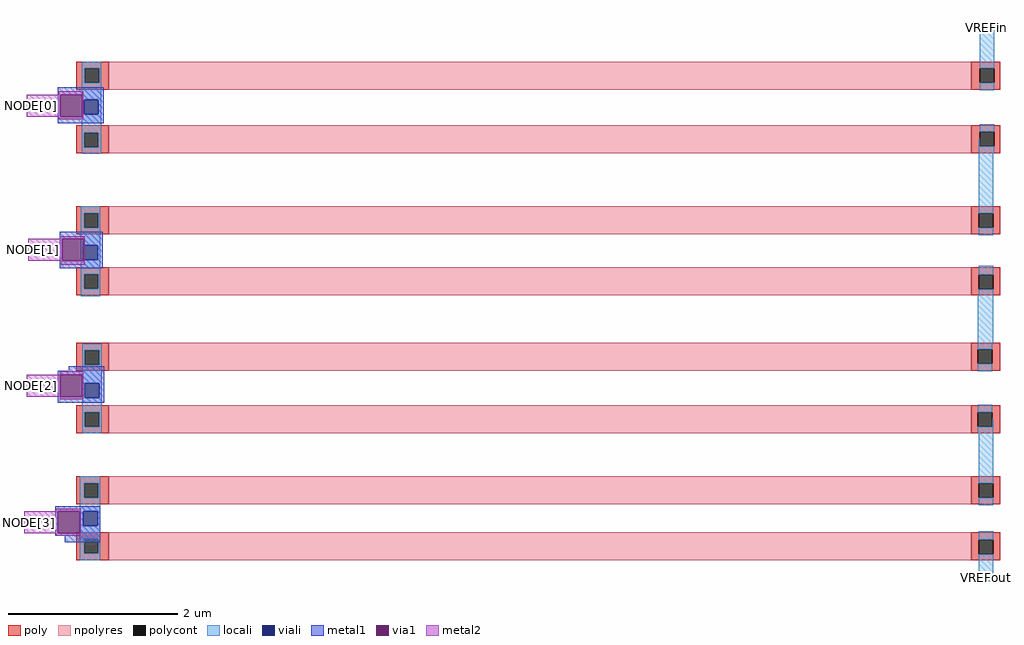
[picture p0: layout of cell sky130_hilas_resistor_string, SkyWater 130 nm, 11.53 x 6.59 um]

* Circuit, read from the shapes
.subckt sky130_hilas_resistor_string VREFin VREFout NODE[3] NODE[2] NODE[1] NODE[0]
R1 VREFout NODE[3] sky130_fd_pr__res_generic_po w=0.33 l=10.19
R2 n1 NODE[3] sky130_fd_pr__res_generic_po w=0.33 l=10.19
R3 n1 NODE[2] sky130_fd_pr__res_generic_po w=0.33 l=10.19
R4 n2 NODE[2] sky130_fd_pr__res_generic_po w=0.33 l=10.19
R5 n2 NODE[1] sky130_fd_pr__res_generic_po w=0.33 l=10.19
R6 n3 NODE[1] sky130_fd_pr__res_generic_po w=0.33 l=10.19
R7 n3 NODE[0] sky130_fd_pr__res_generic_po w=0.33 l=10.19
R8 VREFin NODE[0] sky130_fd_pr__res_generic_po w=0.33 l=10.19
.ends

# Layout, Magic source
magic
tech sky130A
<< poly >>
rect 1921 592 1959 600
rect 1921 575 1931 592
rect 1948 575 1959 592
rect 1921 567 1959 575
rect 2978 592 3012 600
rect 2978 575 2988 592
rect 3005 575 3012 592
rect 2978 567 3012 575
rect 1921 516 1959 525
rect 1921 499 1930 516
rect 1947 499 1959 516
rect 1921 492 1959 499
rect 2978 517 3012 525
rect 2978 500 2988 517
rect 3005 500 3012 517
rect 2978 492 3012 500
rect 1921 421 1959 429
rect 1921 404 1930 421
rect 1947 404 1959 421
rect 1921 396 1959 404
rect 2978 421 3012 429
rect 2978 404 2987 421
rect 3004 404 3012 421
rect 2978 396 3012 404
rect 1921 349 1959 357
rect 1921 332 1930 349
rect 1947 332 1959 349
rect 1921 324 1959 332
rect 2978 348 3012 357
rect 2978 331 2987 348
rect 3004 331 3012 348
rect 2978 324 3012 331
rect 1921 259 1959 268
rect 1921 242 1931 259
rect 1948 242 1959 259
rect 1921 235 1959 242
rect 2978 260 3012 268
rect 2978 243 2986 260
rect 3003 243 3012 260
rect 2978 235 3012 243
rect 1921 186 1959 194
rect 1921 169 1931 186
rect 1948 169 1959 186
rect 1921 161 1959 169
rect 2978 186 3012 194
rect 2978 169 2986 186
rect 3003 169 3012 186
rect 2978 161 3012 169
rect 1921 102 1959 110
rect 1921 85 1930 102
rect 1947 85 1959 102
rect 1921 77 1959 85
rect 2978 102 3012 110
rect 2978 85 2987 102
rect 3004 85 3012 102
rect 2978 77 3012 85
rect 1921 36 1959 44
rect 1921 19 1930 36
rect 1947 19 1959 36
rect 1921 11 1959 19
rect 2978 35 3012 44
rect 2978 18 2987 35
rect 3004 18 3012 35
rect 2978 11 3012 18
<< polycont >>
rect 1931 575 1948 592
rect 2988 575 3005 592
rect 1930 499 1947 516
rect 2988 500 3005 517
rect 1930 404 1947 421
rect 2987 404 3004 421
rect 1930 332 1947 349
rect 2987 331 3004 348
rect 1931 242 1948 259
rect 2986 243 3003 260
rect 1931 169 1948 186
rect 2986 169 3003 186
rect 1930 85 1947 102
rect 2987 85 3004 102
rect 1930 19 1947 36
rect 2987 18 3004 35
<< npolyres >>
rect 1959 567 2978 600
rect 1959 492 2978 525
rect 1959 396 2978 429
rect 1959 324 2978 357
rect 1959 235 2978 268
rect 1959 161 2978 194
rect 1959 77 2978 110
rect 1959 11 2978 44
<< locali >>
rect 1927 592 1950 600
rect 1927 575 1931 592
rect 1948 575 1950 592
rect 1927 555 1950 575
rect 2988 592 3005 645
rect 2988 566 3005 575
rect 1927 538 1930 555
rect 1947 538 1950 555
rect 1927 516 1950 538
rect 1927 499 1930 516
rect 1947 499 1950 516
rect 2988 517 3005 526
rect 1927 491 1950 499
rect 2987 500 2988 509
rect 2987 492 3005 500
rect 1926 421 1949 429
rect 1926 404 1930 421
rect 1947 404 1949 421
rect 1926 383 1949 404
rect 2987 421 3004 492
rect 2987 395 3004 404
rect 1926 366 1929 383
rect 1946 366 1949 383
rect 1926 349 1949 366
rect 1926 332 1930 349
rect 1947 332 1949 349
rect 1926 323 1949 332
rect 2987 348 3004 359
rect 2987 323 3004 331
rect 2986 268 3004 323
rect 1928 259 1951 267
rect 1928 242 1931 259
rect 1948 242 1951 259
rect 1928 220 1951 242
rect 2986 260 3003 268
rect 2986 234 3003 243
rect 1928 203 1931 220
rect 1948 203 1951 220
rect 1928 186 1951 203
rect 1928 169 1931 186
rect 1948 169 1951 186
rect 1928 161 1951 169
rect 2986 186 3003 195
rect 3003 169 3004 178
rect 2986 161 3004 169
rect 1925 102 1949 110
rect 1925 85 1930 102
rect 1947 85 1949 102
rect 1925 69 1949 85
rect 2987 102 3004 161
rect 2987 76 3004 85
rect 1925 52 1929 69
rect 1946 52 1949 69
rect 1925 36 1949 52
rect 1925 19 1930 36
rect 1947 19 1949 36
rect 1925 11 1949 19
rect 2987 35 3004 45
rect 2987 -14 3004 18
<< viali >>
rect 1930 538 1947 555
rect 1929 366 1946 383
rect 1931 203 1948 220
rect 1929 52 1946 69
<< metal1 >>
rect 1899 561 1953 570
rect 1899 535 1902 561
rect 1928 555 1953 561
rect 1928 538 1930 555
rect 1947 538 1953 555
rect 1928 535 1953 538
rect 1899 527 1953 535
rect 1901 391 1952 399
rect 1901 365 1904 391
rect 1930 383 1952 391
rect 1946 366 1952 383
rect 1930 365 1952 366
rect 1901 356 1952 365
rect 1912 235 1954 240
rect 1899 230 1954 235
rect 1899 204 1902 230
rect 1928 220 1954 230
rect 1928 204 1931 220
rect 1899 203 1931 204
rect 1948 203 1954 220
rect 1899 197 1954 203
rect 1896 69 1949 75
rect 1896 43 1899 69
rect 1925 52 1929 69
rect 1946 52 1949 69
rect 1925 43 1949 52
rect 1896 40 1949 43
rect 1907 32 1949 40
<< via1 >>
rect 1902 535 1928 561
rect 1904 383 1930 391
rect 1904 366 1929 383
rect 1929 366 1930 383
rect 1904 365 1930 366
rect 1902 204 1928 230
rect 1899 43 1925 69
<< metal2 >>
rect 1900 561 1929 565
rect 1862 535 1902 561
rect 1928 535 1929 561
rect 1900 532 1929 535
rect 1903 391 1931 394
rect 1864 365 1904 391
rect 1930 365 1931 391
rect 1903 360 1931 365
rect 1901 230 1929 234
rect 1862 204 1902 230
rect 1928 204 1929 230
rect 1901 201 1929 204
rect 1897 69 1926 72
rect 1859 43 1899 69
rect 1925 43 1926 69
rect 1897 40 1925 43
<< labels >>
flabel locali 2988 635 3005 645 0 FreeSans 40 0 0 0 VREFin
port 1 nsew
flabel locali 2987 -14 3004 -4 0 FreeSans 40 0 0 0 VREFout
port 3 nsew
flabel metal2 1859 43 1871 69 0 FreeSans 40 0 0 0 NODE[3]
port 5 nsew
flabel metal2 1862 204 1874 230 0 FreeSans 40 0 0 0 NODE[2]
port 7 nsew
flabel metal2 1864 365 1876 391 0 FreeSans 40 0 0 0 NODE[1]
port 9 nsew
flabel metal2 1862 535 1874 561 0 FreeSans 40 0 0 0 NODE[0]
port 11 nsew
<< end >>
